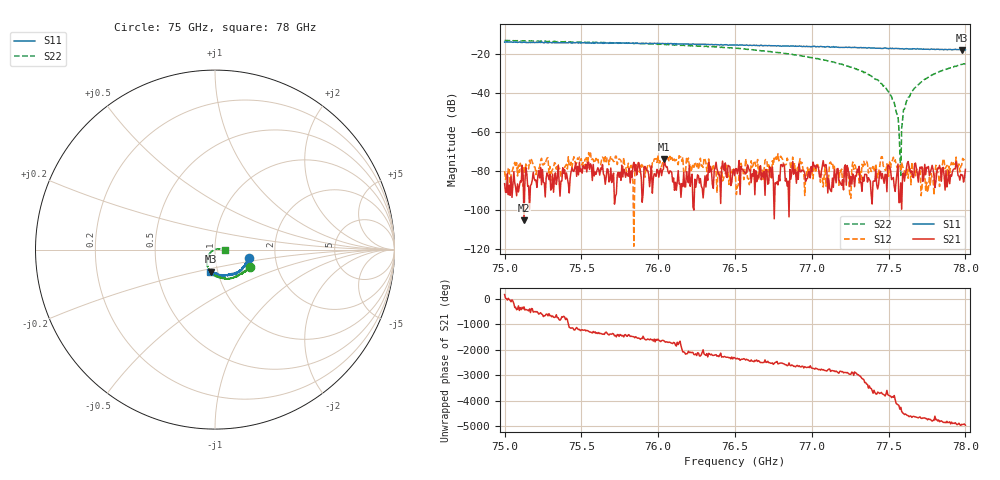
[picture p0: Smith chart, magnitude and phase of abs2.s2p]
# Hz S MA R 50
! CMT, C4420, 21421029, 25.1.2/3
! Date: 8/7/2025 12:42:04 PM
! Data: Format (Calibration Info)
! Freq	S33:Mag/Ang(F2)	S43:Mag/Ang(F2)	S34:Mag/Ang(F2)	S44:Mag/Ang(F2)
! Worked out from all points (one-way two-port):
!   500 points, 75 GHz to 78 GHz, reference 50 ohm
!   highest |S21| = -73.97 dB at 76.04 GHz (marker M1); lowest = -105.4 dB at 75.126 GHz (marker M2)
!   lowest |S11| = -18.1 dB at 77.976 GHz (marker M3), VSWR 1.28, Z = 46.6 - j11.6 ohm
!   |S11| at or under -10 dB: start of sweep to end of sweep
!   |S22| runs from -82.5 to -13.3 dB; largest |S21 - S12| = 0.00035
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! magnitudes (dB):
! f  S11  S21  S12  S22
! 75 GHz  -14.2  -86.7  -80.2  -13.3
! 75.126 GHz  -14.2  -105.4  -77.9  -13.6
! 75.174 GHz  -14.2  -87.0  -74.3  -13.5
! 75.505 GHz  -14.5  -81.3  -77.3  -14.2
! 75.715 GHz  -14.6  -97.2  -75.1  -14.5
! 75.848 GHz  -14.8  -80.1  -81.1  -14.9
! 76.004 GHz  -14.9  -83.3  -76.3  -15.2
! 76.04 GHz  -15.0  -74.0  -73.3  -15.4
! 76.503 GHz  -15.7  -79.0  -82.6  -17.3
! 76.635 GHz  -15.9  -80.1  -77.8  -18.3
! 76.725 GHz  -15.9  -78.0  -81.7  -19.0
! 76.792 GHz  -16.1  -85.3  -73.5  -19.6
! 77.002 GHz  -16.5  -80.4  -80.3  -22.1
! 77.339 GHz  -17.0  -85.4  -75.3  -29.8
! 77.501 GHz  -17.5  -77.1  -82.9  -39.8
! 77.549 GHz  -17.4  -85.2  -77.0  -49.9
! 77.567 GHz  -17.4  -96.4  -77.4  -58.6
! 77.579 GHz  -17.6  -86.3  -80.4  -82.5
! 77.609 GHz  -17.6  -81.6  -83.3  -46.5
! 77.657 GHz  -17.5  -83.3  -79.3  -39.0
! 77.976 GHz  -18.1  -82.5  -77.1  -25.6
! 78 GHz  -18.1  -79.4  -74.2  -25.3
